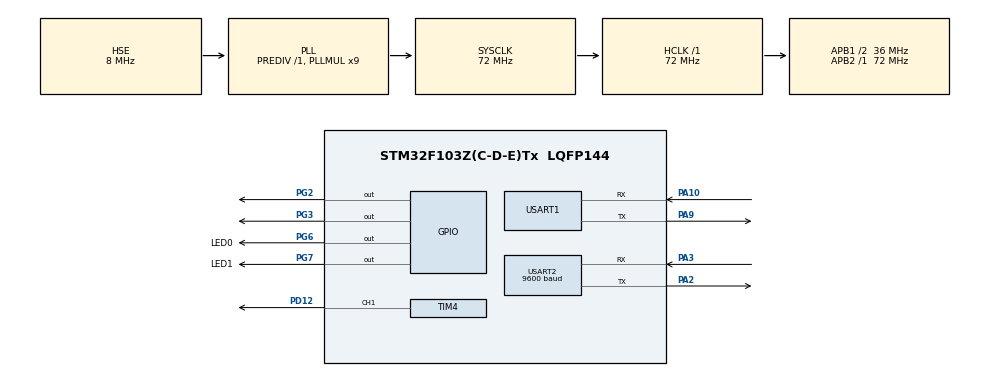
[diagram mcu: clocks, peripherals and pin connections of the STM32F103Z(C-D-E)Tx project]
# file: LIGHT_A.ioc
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Mcu.Family=STM32F1
Mcu.Name=STM32F103Z(C-D-E)Tx
Mcu.Package=LQFP144
NVIC.PriorityGroup=NVIC_PRIORITYGROUP_4
NVIC.USART1_IRQn=true\:0\:0\:false\:false\:true\:true\:true\:true
NVIC.USART2_IRQn=true\:0\:0\:false\:false\:true\:true\:true\:true
OSC_IN.Mode=HSE-External-Oscillator
OSC_IN.Signal=RCC_OSC_IN
OSC_OUT.Mode=HSE-External-Oscillator
OSC_OUT.Signal=RCC_OSC_OUT
PA10.Mode=Asynchronous
PA10.Signal=USART1_RX
PA13.Mode=Serial_Wire
PA13.Signal=SYS_JTMS-SWDIO
PA14.Mode=Serial_Wire
PA14.Signal=SYS_JTCK-SWCLK
PA2.Mode=Asynchronous
PA2.Signal=USART2_TX
PA3.Mode=Asynchronous
PA3.Signal=USART2_RX
PA9.Mode=Asynchronous
PA9.Signal=USART1_TX
PC14-OSC32_IN.Mode=LSE-External-Oscillator
PC14-OSC32_IN.Signal=RCC_OSC32_IN
PC15-OSC32_OUT.Mode=LSE-External-Oscillator
PC15-OSC32_OUT.Signal=RCC_OSC32_OUT
PD12.Signal=S_TIM4_CH1
PG2.PinState=GPIO_PIN_SET
PG2.Signal=GPIO_Output
PG3.PinState=GPIO_PIN_SET
PG3.Signal=GPIO_Output
PG6.GPIO_Label=LED0
PG6.PinState=GPIO_PIN_SET
PG6.Signal=GPIO_Output
PG7.GPIO_Label=LED1
PG7.PinState=GPIO_PIN_SET
PG7.Signal=GPIO_Output
ProjectManager.HeapSize=0x200
ProjectManager.StackSize=0x400
ProjectManager.TargetToolchain=MDK-ARM V5.32
RCC.AHBFreq_Value=72000000
RCC.APB1CLKDivider=RCC_HCLK_DIV2
RCC.APB1Freq_Value=36000000
RCC.APB1TimFreq_Value=72000000
RCC.APB2Freq_Value=72000000
RCC.APB2TimFreq_Value=72000000
RCC.HCLKFreq_Value=72000000
RCC.PLLMUL=RCC_PLL_MUL9
RCC.PLLSourceVirtual=RCC_PLLSOURCE_HSE
RCC.SYSCLKFreq_VALUE=72000000
RCC.SYSCLKSource=RCC_SYSCLKSOURCE_PLLCLK
RCC.USBFreq_Value=72000000
SH.S_TIM4_CH1.0=TIM4_CH1,PWM Generation1 CH1
TIM4.AutoReloadPreload=TIM_AUTORELOAD_PRELOAD_ENABLE
TIM4.Channel-PWM\ Generation1\ CH1=TIM_CHANNEL_1
TIM4.Period=1000
TIM4.Prescaler=72
USART1.VirtualMode=VM_ASYNC
USART2.BaudRate=9600
USART2.VirtualMode=VM_ASYNC
VP_TIM4_VS_ClockSourceINT.Mode=Internal
board=custom

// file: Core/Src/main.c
/* USER CODE BEGIN Header */
/**
  ******************************************************************************
  * @file           : main.c
  * @brief          : Main program body
  ******************************************************************************
  * @attention
  *
  * Copyright (c) 2024 STMicroelectronics.
  * All rights reserved.
  *
  * This software is licensed under terms that can be found in the LICENSE file
  * in the root directory of this software component.
  * If no LICENSE file comes with this software, it is provided AS-IS.
  *
  ******************************************************************************
  */
/* USER CODE END Header */
#include "main.h"
#include "tim.h"
#include "usart.h"
#include "gpio.h"

/* USER CODE BEGIN Includes */
#include <string.h>
#include <stdio.h>
#include "oled.h"
#include "string.h"
#include "stdlib.h"
#include "esp8266.h"
#include "mqtt.h"

//////////////////////////////下面是自行修改参数的地方////////////////////////////////////////
#define ServerIP "183.230.40.39" //传统的mqtt协议ip
#define Port "6002"

#define ClientID "1203150932"    //需要定义为用户自己的参数 设备id
#define Username   "628799"		//需要定义为用户自己的参数 产品id
#define Password   "smlight"  //需要定义为用户自己的参数 鉴权信息

#define Topic   "$dp" //需要定义为用户自己的参数 不用改
#define TopicPost   "$dp" //需要定义为用户自己的参数 不用改

#define SSID "esp"
#define WIFIPassword "12345678"
///////////////////////////////////////////////////////////////

#define RXBUFFERSIZE  256
   //最大接收字节数
uint16_t RxBuffer[RXBUFFERSIZE];   //接收数据
uint16_t aRxBuffer;			//接收中断缓冲
uint16_t Uart1_Rx_Cnt = 0;		//接收缓冲计数

#define RXBUFFERSIZE2  256

//最大接收字节数
uint8_t RxBuffer2[RXBUFFERSIZE2];   //接收数据
uint8_t  RxBuffer3[RXBUFFERSIZE2];   //接收数据

char aRxBuffer2;			//接收中断缓冲
uint8_t Uart1_Rx_Cnt2 = 0;		//接收缓冲计数
uint16_t R_success = 0;

int light_pwm = 0;
int light_targe = 400,light_error = 0;;
/* USER CODE END Includes */

void SystemClock_Config(void);
/* USER CODE BEGIN PFP */
   char  * CSTXREVData[3];
/* USER CODE END PFP */

/* USER CODE BEGIN 0 */
unsigned char servernotok=1;
/* USER CODE END 0 */

int main(void)
{
  /* USER CODE BEGIN 1 */
	uint8_t res=1;
	uint8_t j=0;
	char *light_C;
	char *infrared_C;

	uint16_t infrared;
	uint16_t light;
  /* USER CODE END 1 */

  /* MCU Configuration--------------------------------------------------------*/

  /* Reset of all peripherals, Initializes the Flash interface and the Systick. */
  HAL_Init();

  /* Configure the system clock */
  SystemClock_Config();

  /* USER CODE BEGIN SysInit */
		OLED_Init();
  /* USER CODE END SysInit */

  /* Initialize all configured peripherals */
  MX_GPIO_Init();
  MX_USART1_UART_Init();
  MX_USART2_UART_Init();
  MX_TIM4_Init();
  /* USER CODE BEGIN 2 */
	HAL_TIM_PWM_Start(&htim4,TIM_CHANNEL_1);  //开启PWM通道1
	HAL_GPIO_WritePin(GPIOG,GPIO_PIN_2,GPIO_PIN_RESET);
//	HAL_GPIO_WritePin(GPIOG,GPIO_PIN_2,GPIO_PIN_SET);
		USART_Interupt_Enable();
  /* USER CODE END 2 */
		while(res)
		{
			res=WIFI_Dect((uint8_t *)SSID,(uint8_t *)WIFIPassword);
			HAL_Delay(200);
		}
		res = 1;
		while(servernotok)
		{
			res=ESP8266_CONNECT_SERVER((uint8_t *)ServerIP,(uint8_t *)Port);
			HAL_Delay(1000);
		}
			servernotok=1;
			while(servernotok)
			{
				res=mqtt_Connection((char *)Username,(char *)Password,(char *)ClientID);  //连接服务器
				if(servernotok == 0){
					USART2_printf("Enter MQTT OK!\r\n");
				}
				else{
					USART2_printf("Enter MQTT Error!\r\n");
				}
			}
			servernotok=1;
			while(servernotok)
			{
				res=mqtt_subscribe((char *)Topic);  //订阅消息
				if(servernotok == 0){
					USART2_printf("Subscription succeeded!\r\n");
				}
				else{
					USART2_printf("Subscription failed!\r\n");
				}
			}
  /* Infinite loop */
  /* USER CODE BEGIN WHILE */
  while (1)
  {

			if(USART2_RX_STA == REC_OK)
			{
				CSTXREVData[0] = strtok((char *)USART2_RX_BUF,",");//A,18.1,62.5
				CSTXREVData[1] = strtok(NULL,",");
				CSTXREVData[2] = strtok(NULL,",");

				infrared_C = CSTXREVData[0];
				light_C = CSTXREVData[1];

				infrared = atoi(infrared_C);
				light = atoi(light_C);

				if(light != 0)
				{

					ESP8266_Send_data((char *)TopicPost,CSTXREVData[0],CSTXREVData[1]);  //发送数据
					if( light > 100 && infrared == 1)//
					{
						HAL_GPIO_WritePin(GPIOG,GPIO_PIN_2,GPIO_PIN_SET);
						light_error = light - light_targe;
						light_pwm = 1.4*light_error;
						light_pwm = abs(light_pwm) < 500 ? light_pwm : 500;
						light_pwm = 500 - light_pwm;

						__HAL_TIM_SetCompare(&htim4, TIM_CHANNEL_1, light_pwm);

					}
					else
					{
							HAL_GPIO_WritePin(GPIOG,GPIO_PIN_2,GPIO_PIN_RESET);
					}

					OLED_ShowString(1,1,"           ");
					OLED_ShowString(1,1,"infrard:");
					OLED_ShowNum(1,9,infrared,1);
					OLED_ShowString(2,1,"light:");
					OLED_ShowNum(2,7,light,4);
					OLED_ShowSignedNum(3,1,light_pwm,5);
				}

				memset(USART2_RX_BUF,0,USART_REC_LEN);

				USART2_RX_STA = 0;
		}

		HAL_GPIO_WritePin(LED0_GPIO_Port,LED0_Pin,GPIO_PIN_RESET);
		HAL_Delay(200);
		HAL_GPIO_WritePin(LED0_GPIO_Port,LED0_Pin,GPIO_PIN_SET);
		HAL_Delay(800);

    /* USER CODE END WHILE */

  }
}

void SystemClock_Config(void)
{
  RCC_OscInitTypeDef RCC_OscInitStruct = {0};
  RCC_ClkInitTypeDef RCC_ClkInitStruct = {0};

  /** Initializes the RCC Oscillators according to the specified parameters
  * in the RCC_OscInitTypeDef structure.
  */
  RCC_OscInitStruct.OscillatorType = RCC_OSCILLATORTYPE_HSE;
  RCC_OscInitStruct.HSEState = RCC_HSE_ON;
  RCC_OscInitStruct.HSEPredivValue = RCC_HSE_PREDIV_DIV1;
  RCC_OscInitStruct.HSIState = RCC_HSI_ON;
  RCC_OscInitStruct.PLL.PLLState = RCC_PLL_ON;
  RCC_OscInitStruct.PLL.PLLSource = RCC_PLLSOURCE_HSE;
  RCC_OscInitStruct.PLL.PLLMUL = RCC_PLL_MUL9;
  if (HAL_RCC_OscConfig(&RCC_OscInitStruct) != HAL_OK)
  {
    Error_Handler();
  }

  /** Initializes the CPU, AHB and APB buses clocks
  */
  RCC_ClkInitStruct.ClockType = RCC_CLOCKTYPE_HCLK|RCC_CLOCKTYPE_SYSCLK
                              |RCC_CLOCKTYPE_PCLK1|RCC_CLOCKTYPE_PCLK2;
  RCC_ClkInitStruct.SYSCLKSource = RCC_SYSCLKSOURCE_PLLCLK;
  RCC_ClkInitStruct.AHBCLKDivider = RCC_SYSCLK_DIV1;
  RCC_ClkInitStruct.APB1CLKDivider = RCC_HCLK_DIV2;
  RCC_ClkInitStruct.APB2CLKDivider = RCC_HCLK_DIV1;

  if (HAL_RCC_ClockConfig(&RCC_ClkInitStruct, FLASH_LATENCY_2) != HAL_OK)
  {
    Error_Handler();
  }
}

void Error_Handler(void)
{
  __disable_irq();
  while (1)
  {
  }
}
